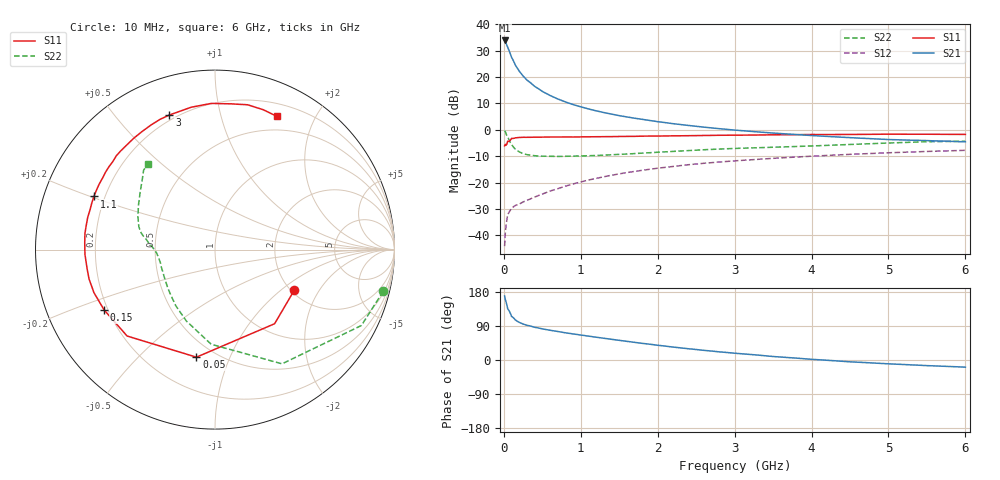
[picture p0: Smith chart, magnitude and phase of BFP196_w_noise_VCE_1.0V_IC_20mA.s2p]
! Infineon Technologies  Discrete & RF Semiconductors
! BFP196
! VCE =  1.0 V,  IC =  20 mA
! Common Emitter S-Parameters:  Jan 2017
# GHz  S  MA  R  50
!  f  S11  S21  S12  S22
! GHz  MAG  ANG  MAG  ANG  MAG  ANG  MAG  ANG
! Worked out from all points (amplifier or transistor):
!   77 points, 10 MHz to 6 GHz, reference 50 ohm
!   highest |S21| = 33.9 dB at 10 MHz (marker M1)
!   |S21| within 3 dB of that: start of sweep to 56.16 MHz
!   unconditionally stable (mu >= 1): 704.6 MHz to 2.686 GHz
!   at 130 MHz: K = 0.40, MSG = 27.5 dB, |S12| = -29.1 dB
!   at 2.2 GHz: K = 1.03, MAG = 7.1 dB, |S12| = -13.9 dB
!   at 6 GHz: K = 0.98, MSG = 1.6 dB, |S12| = -7.8 dB
!   lowest NFmin = 1.10 dB at 450 MHz
!   S11 on the Smith chart (normalised r, x): 10 MHz: 2.09, -1.24; 50 MHz: 0.40, -0.76; 150 MHz: 0.19, -0.25; 1.1 GHz: 0.16, +0.20; 3 GHz: 0.17, +0.70; 6 GHz: 0.34, +1.51
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0.01  0.4964 -26.9  49.57 169.1  0.0062 78.9  0.966 -13.9
0.02  0.53 -51.2  48.08 158.9  0.0115 73.5  0.9188 -27.4
0.05  0.6083 -99.8  36.88 135.3  0.0245 54.5  0.738 -59.6
0.1  0.6867 -135.5  23.82 115.2  0.0325 43.0  0.5277 -92.3
0.15  0.7032 -151.4  16.88 105.5  0.0367 39.9  0.429 -111.8
0.2  0.7158 -160.4  12.99 99.3  0.0389 40.9  0.3817 -124.9
0.25  0.7206 -166.8  10.51 94.9  0.0428 42.1  0.3539 -134.0
0.3  0.7204 -171.2  8.815 91.6  0.0458 43.9  0.3384 -141.2
0.4  0.7251 -177.9  6.681 86.4  0.0529 48.5  0.3225 -150.7
0.5  0.7267 177.0  5.358 82.2  0.0603 51.3  0.316 -157.3
0.6  0.7302 172.9  4.491 78.5  0.0688 53.1  0.3144 -162.1
0.7  0.73 169.3  3.854 75.3  0.0763 54.7  0.3127 -165.7
0.8  0.7316 165.7  3.385 71.8  0.0852 55.6  0.3143 -168.5
0.9  0.7306 162.4  3.01 68.8  0.0939 55.8  0.3167 -170.9
1.1  0.7368 156.3  2.49 63.0  0.1115 55.6  0.3225 -174.8
1.5  0.7469 144.8  1.858 51.9  0.1457 53.0  0.3422 179.1
2.1  0.7641 128.6  1.367 36.6  0.1942 46.5  0.382 172.4
3  0.7918 108.7  0.988 17.9  0.2576 35.5  0.4433 163.2
3.1  0.7926 106.8  0.962 16.3  0.2634 34.3  0.4476 161.9
4.1  0.814 90.0  0.764 0.6  0.321 22.5  0.5 148.0
5.1  0.8258 76.0  0.648 -11.0  0.3708 11.1  0.568 135.3
6  0.8185 65.1  0.592 -18.9  0.4082 1.2  0.6072 128.0
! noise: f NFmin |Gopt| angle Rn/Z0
0.45  1.1  0.34  159  0.05
0.9  1.3  0.47  179  0.06
1.9  2.2  0.68  -137  0.24
2.4  2.65  0.72  -122  0.59
